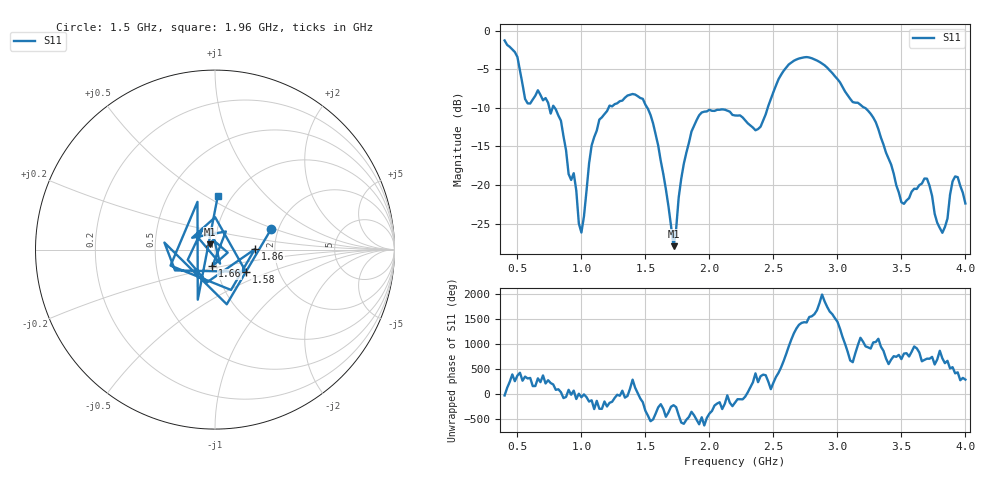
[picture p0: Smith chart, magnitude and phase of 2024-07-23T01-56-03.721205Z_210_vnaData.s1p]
!Created with skrf (http://scikit-rf.org).
# Hz S RI R 50.0
!freq ReS11 ImS11
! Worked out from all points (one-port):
!   181 points, 400 MHz to 4 GHz, reference 50 ohm
!   lowest |S11| = -27.9 dB at 1.72 GHz (marker M1), VSWR 1.08, Z = 47.3 + j2.81 ohm
!   |S11| at or under -10 dB: 791.7 MHz to 1.212 GHz (420.1 MHz wide, 41.9 % of centre); 1.515 GHz to 2.455 GHz (940.3 MHz wide, 47.4 % of centre); 3.214 GHz to end of sweep (the widest 3 of 4)
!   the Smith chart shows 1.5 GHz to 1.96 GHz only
!   S11 on the Smith chart (normalised r, x): 1.5 GHz: 1.83, +0.46; 1.58 GHz: 1.36, -0.35; 1.66 GHz: 0.95, -0.18; 1.86 GHz: 1.57, +0.01; 1.96 GHz: 0.86, +0.56
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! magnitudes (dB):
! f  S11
! 400 MHz  -1.3
! 500 MHz  -3.4
! 580 MHz  -9.4
! 660 MHz  -7.7
! 860 MHz  -13.7
! 900 MHz  -18.6
! 940 MHz  -18.5
! 1 GHz  -26.2
! 1.08 GHz  -14.9
! 1.3 GHz  -9.1
! 1.5 GHz  -9.6
! 1.58 GHz  -13.5
! 1.66 GHz  -20.5
! 1.72 GHz  -27.9
! 1.76 GHz  -21.6
! 1.86 GHz  -13.1
! 1.96 GHz  -10.5
! 2.2 GHz  -11.0
! 2.38 GHz  -12.7
! 2.66 GHz  -3.9
! 3.1 GHz  -8.8
! 3.28 GHz  -11.3
! 3.5 GHz  -22.2
! 3.56 GHz  -21.7
! 3.7 GHz  -19.2
! 3.82 GHz  -26.2
! 3.92 GHz  -18.9
! 4 GHz  -22.4
